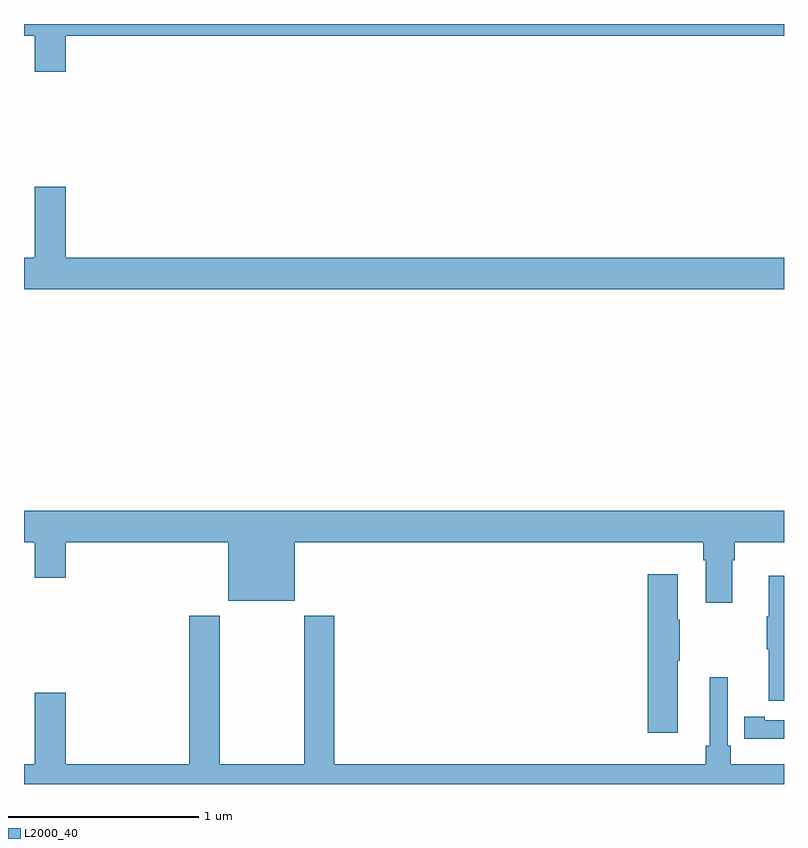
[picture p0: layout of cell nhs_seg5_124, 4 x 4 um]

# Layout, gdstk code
import gdstk
lib = gdstk.Library(unit=1e-6, precision=1e-09)
def P(c, l, *ps):  # polygons
    for p in ps: c.add(gdstk.Polygon(p, *l))
L2000_40 = (2000, 40)

nhs_seg5_124 = lib.new_cell('nhs_seg5_124')
P(nhs_seg5_124, L2000_40, [(117.22,880.736),(121,880.736),(121,880.799),(117,880.799),(117,880.736),(117.056,880.736),(117.056,880.548),(117.22,880.548)],
  [(121,879.568),(117.22,879.568),(117.22,879.943),(117.056,879.943),(117.056,879.568),(117,879.568),(117,879.404),(121,879.404)],
  [(120.727,877.976),(120.74,877.976),(120.74,878.072),(121,878.072),(121,878.236),(117,878.236),(117,878.072),(117.056,878.072),(117.056,877.884),(117.22,877.884),(117.22,878.072),(118.076,878.072),(118.076,877.763),(118.426,877.763),(118.426,878.072),(120.575,878.072),(120.575,877.976),(120.587,877.976),(120.587,877.752),(120.727,877.752)],
  [(120.442,877.447),(120.45,877.447),(120.45,877.664),(120.442,877.664),(120.442,877.903),(120.284,877.903),(120.284,877.068),(120.442,877.068)],
  [(121,877.894),(120.92,877.894),(120.92,877.681),(120.909,877.681),(120.909,877.507),(120.92,877.507),(120.92,877.236),(121,877.236)],
  [(121,876.904),(120.719,876.904),(120.719,877),(120.705,877),(120.705,877.36),(120.608,877.36),(120.608,877),(120.589,877),(120.589,876.904),(118.634,876.904),(118.634,877.684),(118.474,877.684),(118.474,876.904),(118.029,876.904),(118.029,877.684),(117.869,877.684),(117.869,876.904),(117.22,876.904),(117.22,877.279),(117.056,877.279),(117.056,876.904),(117,876.904),(117,876.799),(121,876.799)],
  [(121,877.134),(120.898,877.134),(120.898,877.154),(120.79,877.154),(120.79,877.038),(120.898,877.038),(120.898,877.037),(121,877.037)])

lib.write_gds('nhs_seg5_124.gds')
